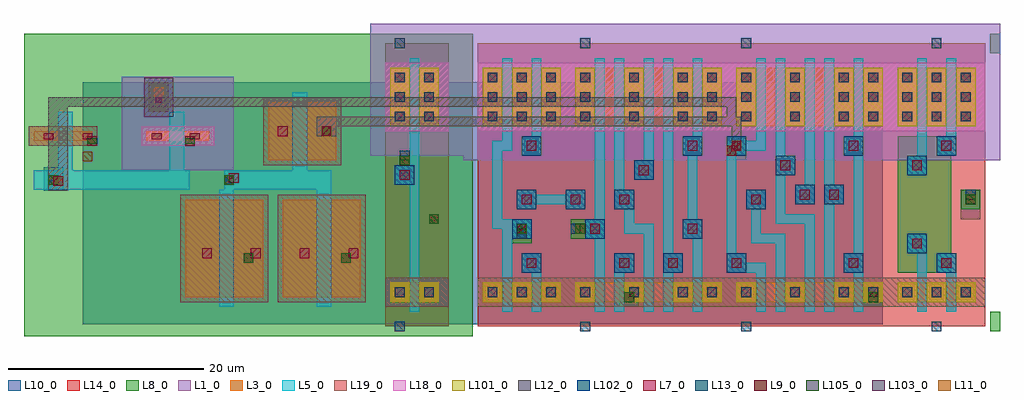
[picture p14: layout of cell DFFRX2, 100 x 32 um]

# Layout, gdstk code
import gdstk
lib = gdstk.Library(unit=1e-6, precision=1e-09)
def R(c, l, rs):  # rectangles x0, y0, x1, y1
    for r in rs: c.add(gdstk.rectangle(r[:2], r[2:], *l))
def A(c, l, x, y, w, h, nx, ny, dx, dy):  # array of equal rectangles
    R(c, l, [(x+i*dx, y+j*dy, x+i*dx+w, y+j*dy+h) for i in range(nx) for j in range(ny)])
def P(c, l, *ps):  # polygons
    for p in ps: c.add(gdstk.Polygon(p, *l))
L1_0 = (1, 0)
L3_0 = (3, 0)
L5_0 = (5, 0)
L7_0 = (7, 0)
L8_0 = (8, 0)
L9_0 = (9, 0)
L10_0 = (10, 0)
L11_0 = (11, 0)
L12_0 = (12, 0)
L13_0 = (13, 0)
L14_0 = (14, 0)
L18_0 = (18, 0)
L19_0 = (19, 0)
L101_0 = (101, 0)
L102_0 = (102, 0)
L103_0 = (103, 0)
L105_0 = (105, 0)

dffrx2 = lib.new_cell('DFFRX2')
R(dffrx2, L1_0, [(10,16,21.5,25.6), (45,17,100,31), (35.5,17.5,45,31)])
R(dffrx2, L3_0, [(37.5,2.5,42.5,4.5), (47,2.5,55,4.5), (56.5,2.5,71.5,4.5), (73,2.5,88,4.5), (89.5,2.5,97.5,4.5), (16.5,3,24.5,13), (26.5,3,34.5,13), (25,17,32,23), (1,19,7,20), (12.5,19,19,20), (37.5,20.5,42.5,26.5), (47,20.5,55,26.5), (56.5,20.5,71.5,26.5), (73,20.5,88,26.5), (89.5,20.5,97.5,26.5), (13.3,22.5,14.3,24.5)])
R(dffrx2, L5_0, [(20,2,21.5,14), (30,2,31.5,14), (1,14,17,16), (20.5,14,31.5,16), (27.5,15.9,29,24), (3.5,16,5,22), (14.9,16,16.4,22)])
P(dffrx2, L5_0, [(39.5,1.5),(39.5,14.5),(38,14.5),(38,16.5),(39.5,16.5),(39.5,27.5),(40.5,27.5),(40.5,1.5)],
  [(52,1.5),(52,5.5),(51,5.5),(51,7.5),(53,7.5),(53,1.5)],
  [(60.5,1.5),(60.5,7.5),(62.5,7.5),(62.5,5.5),(61.5,5.5),(61.5,1.5)],
  [(94.5,1.5),(94.5,5.5),(93.5,5.5),(93.5,7.5),(95.5,7.5),(95.5,1.5)],
  [(91.5,1.5),(91.5,7.5),(90.5,7.5),(90.5,9.5),(92.5,9.5),(92.5,1.5)],
  [(50.5,12),(50.5,14),(52.5,14),(52.5,13.5),(55.5,13.5),(55.5,14),(57.5,14),(57.5,12),(55.5,12),(55.5,12.5),(52.5,12.5),(52.5,12)],
  [(77,1.5),(77,8.5),(74.5,8.5),(74.5,12),(74,12),(74,14),(76,14),(76,12),(75.5,12),(75.5,9.5),(78,9.5),(78,1.5)],
  [(49,1.5),(49,10),(48,10),(48,19),(49,19),(49,27.5),(50,27.5),(50,18),(49,18),(49,11),(52,11),(52,9),(50,9),(50,1.5)],
  [(51,17.5),(51,19.5),(52,19.5),(52,27.5),(53,27.5),(53,17.5)],
  [(58.5,1.5),(58.5,9),(57.5,9),(57.5,11),(58.5,11),(58.5,27.5),(59.5,27.5),(59.5,1.5)],
  [(63.5,1.5),(63.5,9.5),(61.5,9.5),(61.5,12),(60.5,12),(60.5,27.5),(61.5,27.5),(61.5,14),(62.5,14),(62.5,10.5),(64.5,10.5),(64.5,1.5)],
  [(62.5,15),(62.5,17),(63.5,17),(63.5,27.5),(64.5,27.5),(64.5,15)],
  [(65.5,1.5),(65.5,27.5),(66.5,27.5),(66.5,7.5),(67.5,7.5),(67.5,5.5),(66.5,5.5),(66.5,1.5)],
  [(68.5,1.5),(68.5,9),(67.5,9),(67.5,11),(68,11),(68,17.5),(67.5,17.5),(67.5,19.5),(68.5,19.5),(68.5,27.5),(69.5,27.5),(69.5,17.5),(69,17.5),(69,11),(69.5,11),(69.5,1.5)],
  [(75,1.5),(75,5.5),(72,5.5),(72,19.5),(74,19.5),(74,19),(75,19),(75,27.5),(76,27.5),(76,18),(74,18),(74,17.5),(73,17.5),(73,7.5),(74,7.5),(74,6.5),(76,6.5),(76,1.5)],
  [(80,1.5),(80,10.5),(77,10.5),(77,27.5),(78,27.5),(78,17.5),(79,17.5),(79,15.5),(78,15.5),(78,11.5),(81,11.5),(81,1.5)],
  [(79,12.5),(79,14.5),(80,14.5),(80,27.5),(81,27.5),(81,12.5)],
  [(82,1.5),(82,27.5),(83,27.5),(83,14.5),(84,14.5),(84,12.5),(83,12.5),(83,1.5)],
  [(85,1.5),(85,5.5),(84,5.5),(84,7.5),(85,7.5),(85,17.5),(84,17.5),(84,19.5),(85,19.5),(85,27.5),(86,27.5),(86,1.5)],
  [(90.5,15.5),(90.5,17.5),(91.5,17.5),(91.5,27.5),(92.5,27.5),(92.5,15.5)],
  [(93.5,17.5),(93.5,19.5),(94.5,19.5),(94.5,27.5),(95.5,27.5),(95.5,17.5)])
A(dffrx2, L7_0, 47.5, 3, 1, 1, 3, 2, 3, 18)
A(dffrx2, L7_0, 57, 3, 1, 1, 3, 2, 5, 18)
A(dffrx2, L7_0, 73.5, 3, 1, 1, 3, 2, 5, 18)
A(dffrx2, L7_0, 90, 3, 1, 1, 3, 2, 3, 18)
A(dffrx2, L7_0, 18.25, 7, 1, 1, 4, 1, 5, 0)
A(dffrx2, L7_0, 51, 12.5, 1, 1, 3, 1, 5, 0)
A(dffrx2, L7_0, 38, 21, 1, 1, 1, 3, 0, 2)
A(dffrx2, L7_0, 41, 21, 1, 1, 1, 3, 0, 2)
A(dffrx2, L7_0, 70, 21, 1, 1, 1, 3, 0, 2)
A(dffrx2, L7_0, 86.5, 21, 1, 1, 1, 3, 0, 2)
A(dffrx2, L7_0, 47.5, 23, 1, 1, 3, 2, 3, 2)
A(dffrx2, L7_0, 57, 23, 1, 1, 3, 2, 5, 2)
A(dffrx2, L7_0, 73.5, 23, 1, 1, 3, 2, 5, 2)
A(dffrx2, L7_0, 90, 23, 1, 1, 3, 2, 3, 2)
R(dffrx2, L7_0, [(38,3,39,4), (41,3,42,4), (70,3,71,4), (86.5,3,87.5,4), (51.5,6,52.5,7), (61,6,62,7), (66,6,67,7), (72.5,6,73.5,7), (84.5,6,85.5,7), (94,6,95,7), (91,8,92,9), (50.5,9.5,51.5,10.5), (58,9.5,59,10.5), (68,9.5,69,10.5), (74.5,12.5,75.5,13.5), (79.5,13,80.5,14), (82.5,13,83.5,14), (3,14.4,4,15.4), (21,14.7,22,15.7), (38.5,15,39.5,16), (63,15.5,64,16.5), (77.5,16,78.5,17), (91,16,92,17), (51.5,18,52.5,19), (68,18,69,19), (72.5,18,73.5,19), (84.5,18,85.5,19), (94,18,95,19), (2,19.2,3,19.8), (6,19.2,7,19.8), (13.1,19.2,14.1,19.8), (17,19.2,18,19.8), (26,19.5,27,20.5), (30.5,19.5,31.5,20.5), (13.5,22.9,14.1,23.5)])
R(dffrx2, L8_0, [(0,-1,46,30), (99,-0.5,100,1.5), (61,2,63,4), (86,2,88,4), (89.5,5.5,95,19.5), (50,8.5,52,11), (56,9,59.5,11), (96,12,98,14), (72,17,74,19), (99,28,100,30)])
R(dffrx2, L9_0, [(61.5,2.5,62.5,3.5), (86.5,2.5,87.5,3.5), (22.5,6.5,23.5,7.5), (32.5,6.5,33.5,7.5), (50.5,9.5,51.5,10.5), (56.5,9.5,57.5,10.5), (41.5,10.5,42.5,11.5), (96.5,12.5,97.5,13.5), (2.5,14.5,3.5,15.5), (20.5,14.5,21.5,15.5), (38.5,16.5,39.5,17.5), (72,17.5,73,18.5), (72.5,18,73.5,19), (6.5,18.5,7.5,19.5), (16.5,18.5,17.5,19.5), (30.5,19.5,31.5,20.5)])
R(dffrx2, L10_0, [(6,0.2,88,25), (96,11,98,14), (2,13.9,4,16.3), (72,18,74,19)])
R(dffrx2, L11_0, [(3,14.4,4,15.4), (6,16.9,7,17.9), (72,17.5,73,18.5), (72.5,18,73.5,19), (30.5,19.5,31.5,20.5)])
R(dffrx2, L12_0, [(2.5,13.9,4.5,23.5), (72.5,18,73.5,21.5), (30,19.5,32,21.5), (30,20.5,73.5,21.5), (72,20.5,73,23.5), (2.5,22.5,73,23.5)])
A(dffrx2, L13_0, 47.5, 3, 1, 1, 3, 2, 3, 18)
A(dffrx2, L13_0, 57, 3, 1, 1, 3, 2, 5, 18)
A(dffrx2, L13_0, 73.5, 3, 1, 1, 3, 2, 5, 18)
A(dffrx2, L13_0, 90, 3, 1, 1, 3, 2, 3, 18)
A(dffrx2, L13_0, 38, 21, 1, 1, 1, 3, 0, 2)
A(dffrx2, L13_0, 41, 21, 1, 1, 1, 3, 0, 2)
A(dffrx2, L13_0, 70, 21, 1, 1, 1, 3, 0, 2)
A(dffrx2, L13_0, 86.5, 21, 1, 1, 1, 3, 0, 2)
A(dffrx2, L13_0, 47.5, 23, 1, 1, 3, 2, 3, 2)
A(dffrx2, L13_0, 57, 23, 1, 1, 3, 2, 5, 2)
A(dffrx2, L13_0, 73.5, 23, 1, 1, 3, 2, 5, 2)
A(dffrx2, L13_0, 90, 23, 1, 1, 3, 2, 3, 2)
R(dffrx2, L13_0, [(38,-0.5,39,0.5), (57,-0.5,58,0.5), (73.5,-0.5,74.5,0.5), (93,-0.5,94,0.5), (38,3,39,4), (41,3,42,4), (70,3,71,4), (86.5,3,87.5,4), (50.5,9,51.5,10), (56,9.5,57,10.5), (41.5,10.5,42.5,11.5), (96.5,13,97.5,14), (38.5,17,39.5,18), (38,28.5,39,29.5), (57,28.5,58,29.5), (73.5,28.5,74.5,29.5), (93,28.5,94,29.5)])
R(dffrx2, L14_0, [(37,0,43.5,29), (46.5,0,98.5,29)])
R(dffrx2, L18_0, [(12,18.5,19.5,20.5), (37,20,43.5,27), (46.5,20,98.5,27)])
R(dffrx2, L19_0, [(37,2,43.5,5), (46.5,2,98.5,5), (16,2.5,25,13.5), (26,2.5,35,13.5), (24.5,16.5,32.5,23.5), (0.5,18.5,7.5,20.5), (12.8,22,14.8,25)])
A(dffrx2, L101_0, 47, 2.5, 2, 2, 3, 1, 3, 0)
A(dffrx2, L101_0, 56.5, 2.5, 2, 2, 3, 1, 5, 0)
A(dffrx2, L101_0, 73, 2.5, 2, 2, 3, 1, 5, 0)
A(dffrx2, L101_0, 89.5, 2.5, 2, 2, 3, 1, 3, 0)
A(dffrx2, L101_0, 47, 20.5, 2, 6, 3, 1, 3, 0)
A(dffrx2, L101_0, 56.5, 20.5, 2, 6, 3, 1, 5, 0)
A(dffrx2, L101_0, 73, 20.5, 2, 6, 3, 1, 5, 0)
A(dffrx2, L101_0, 89.5, 20.5, 2, 6, 3, 1, 3, 0)
R(dffrx2, L101_0, [(37.5,2.5,39.5,4.5), (40.5,2.5,42.5,4.5), (69.5,2.5,71.5,4.5), (86,2.5,88,4.5), (37.5,20.5,39.5,26.5), (40.5,20.5,42.5,26.5), (69.5,20.5,71.5,26.5), (86,20.5,88,26.5)])
A(dffrx2, L102_0, 50.5, 12, 2, 2, 3, 1, 5, 0)
R(dffrx2, L102_0, [(51,5.5,53,7.5), (60.5,5.5,62.5,7.5), (65.5,5.5,67.5,7.5), (72,5.5,74,7.5), (84,5.5,86,7.5), (93.5,5.5,95.5,7.5), (90.5,7.5,92.5,9.5), (50,9,52,11), (57.5,9,59.5,11), (67.5,9,69.5,11), (74,12,76,14), (79,12.5,81,14.5), (82,12.5,84,14.5), (38,14.5,40,16.5), (62.5,15,64.5,17), (77,15.5,79,17.5), (90.5,15.5,92.5,17.5), (51,17.5,53,19.5), (67.5,17.5,69.5,19.5), (72,17.5,74,19.5), (84,17.5,86,19.5), (93.5,17.5,95.5,19.5)])
R(dffrx2, L103_0, [(12.3,21.5,15.3,25.5)])
R(dffrx2, L105_0, [(61.5,2.5,62.5,3.5), (86.5,2.5,87.5,3.5), (22.5,6.5,23.5,7.5), (32.5,6.5,33.5,7.5), (50.5,9.5,51.5,10.5), (56.5,9.5,57.5,10.5), (41.5,10.5,42.5,11.5), (96.5,12.5,97.5,13.5), (2.5,14.5,3.5,15.5), (20.5,14.5,21.5,15.5), (38.5,16.5,39.5,17.5), (6.5,18.7,7.5,19.3), (16.5,18.7,17.5,19.3), (30.5,19.5,31.5,20.5)])

lib.write_gds('DFFRX2.gds')
